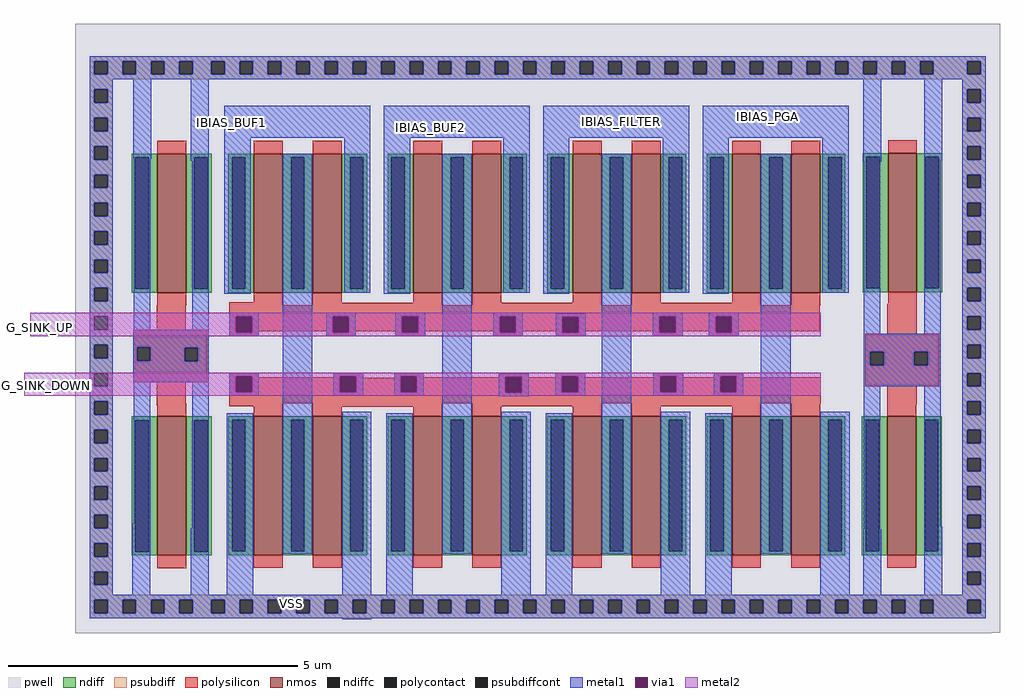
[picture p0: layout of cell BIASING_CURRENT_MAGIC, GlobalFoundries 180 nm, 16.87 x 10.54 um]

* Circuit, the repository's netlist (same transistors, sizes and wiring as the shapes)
* NGSPICE file created from BIASING_CURRENT_MAGIC.ext - technology: gf180mcuC

.subckt nfet_03v3_CT75PZ a_n52_n240# a_152_n240# a_52_n284# a_n152_n284# a_n240_n240#
+ VSUBS
X0 a_n52_n240# a_n152_n284# a_n240_n240# VSUBS nfet_03v3 ad=0.624p pd=2.92u as=1.06p ps=5.68u w=2.4u l=0.5u
X1 a_152_n240# a_52_n284# a_n52_n240# VSUBS nfet_03v3 ad=1.06p pd=5.68u as=0.624p ps=2.92u w=2.4u l=0.5u
.ends

.subckt nfet_03v3_CTB5PZ a_50_n240# a_n50_n284# a_n138_n240# VSUBS
X0 a_50_n240# a_n50_n284# a_n138_n240# VSUBS nfet_03v3 ad=1.06p pd=5.68u as=1.06p ps=5.68u w=2.4u l=0.5u
.ends

.subckt BIASING_CURRENT_MAGIC IBIAS_BUF1 IBIAS_BUF2 IBIAS_FILTER IBIAS_PGA G_SINK_UP
+ G_SINK_DOWN VSS
Xnfet_03v3_CT75PZ_1 m1_1867_n835# IBIAS_PGA G_SINK_UP G_SINK_UP IBIAS_PGA VSS nfet_03v3_CT75PZ
Xnfet_03v3_CT75PZ_0 m1_1867_n835# VSS G_SINK_DOWN G_SINK_DOWN VSS VSS nfet_03v3_CT75PZ
Xnfet_03v3_CT75PZ_2 m1_214_n835# IBIAS_BUF1 G_SINK_UP G_SINK_UP IBIAS_BUF1 VSS nfet_03v3_CT75PZ
Xnfet_03v3_CT75PZ_3 m1_214_n835# VSS G_SINK_DOWN G_SINK_DOWN VSS VSS nfet_03v3_CT75PZ
Xnfet_03v3_CT75PZ_4 m1_765_n835# VSS G_SINK_DOWN G_SINK_DOWN VSS VSS nfet_03v3_CT75PZ
Xnfet_03v3_CT75PZ_5 m1_765_n835# IBIAS_BUF2 G_SINK_UP G_SINK_UP IBIAS_BUF2 VSS nfet_03v3_CT75PZ
Xnfet_03v3_CT75PZ_6 m1_1316_n835# VSS G_SINK_DOWN G_SINK_DOWN VSS VSS nfet_03v3_CT75PZ
Xnfet_03v3_CT75PZ_7 m1_1316_n835# IBIAS_FILTER G_SINK_UP G_SINK_UP IBIAS_FILTER VSS
+ nfet_03v3_CT75PZ
Xnfet_03v3_CTB5PZ_0 VSS VSS VSS VSS nfet_03v3_CTB5PZ
Xnfet_03v3_CTB5PZ_1 VSS VSS VSS VSS nfet_03v3_CTB5PZ
Xnfet_03v3_CTB5PZ_2 VSS VSS VSS VSS nfet_03v3_CTB5PZ
Xnfet_03v3_CTB5PZ_3 VSS VSS VSS VSS nfet_03v3_CTB5PZ
.ends

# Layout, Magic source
magic
tech gf180mcuC
magscale 1 10
<< pwell >>
rect -503 -1107 2693 998
rect -503 -1110 2662 -1107
<< psubdiff >>
rect -453 868 2643 885
rect -453 822 -437 868
rect -391 822 -339 868
rect -293 822 -241 868
rect -195 822 -143 868
rect -97 822 -33 868
rect 13 822 65 868
rect 111 822 163 868
rect 209 822 261 868
rect 307 822 359 868
rect 405 822 457 868
rect 503 822 555 868
rect 601 822 653 868
rect 699 822 751 868
rect 797 822 849 868
rect 895 822 947 868
rect 993 822 1045 868
rect 1091 822 1143 868
rect 1189 822 1241 868
rect 1287 822 1339 868
rect 1385 822 1437 868
rect 1483 822 1535 868
rect 1581 822 1633 868
rect 1679 822 1731 868
rect 1777 822 1829 868
rect 1875 822 1927 868
rect 1973 822 2025 868
rect 2071 822 2123 868
rect 2169 822 2221 868
rect 2267 822 2319 868
rect 2365 822 2417 868
rect 2463 822 2580 868
rect 2626 822 2643 868
rect -453 805 2643 822
rect -453 770 -374 805
rect -453 724 -437 770
rect -391 724 -374 770
rect -453 672 -374 724
rect -453 626 -437 672
rect -391 626 -374 672
rect -453 574 -374 626
rect -453 528 -437 574
rect -391 528 -374 574
rect -453 476 -374 528
rect -453 430 -437 476
rect -391 430 -374 476
rect -453 378 -374 430
rect -453 332 -437 378
rect -391 332 -374 378
rect -453 280 -374 332
rect -453 234 -437 280
rect -391 234 -374 280
rect -453 182 -374 234
rect -453 136 -437 182
rect -391 136 -374 182
rect -453 84 -374 136
rect -453 38 -437 84
rect -391 38 -374 84
rect -453 -14 -374 38
rect 2563 770 2643 805
rect 2563 724 2580 770
rect 2626 724 2643 770
rect 2563 672 2643 724
rect 2563 626 2580 672
rect 2626 626 2643 672
rect 2563 574 2643 626
rect 2563 528 2580 574
rect 2626 528 2643 574
rect 2563 476 2643 528
rect 2563 430 2580 476
rect 2626 430 2643 476
rect 2563 378 2643 430
rect 2563 332 2580 378
rect 2626 332 2643 378
rect 2563 280 2643 332
rect 2563 234 2580 280
rect 2626 234 2643 280
rect 2563 182 2643 234
rect 2563 136 2580 182
rect 2626 136 2643 182
rect 2563 84 2643 136
rect 2563 38 2580 84
rect 2626 38 2643 84
rect -453 -60 -437 -14
rect -391 -60 -374 -14
rect -453 -112 -374 -60
rect -453 -158 -437 -112
rect -391 -158 -374 -112
rect -453 -210 -374 -158
rect -453 -256 -437 -210
rect -391 -256 -374 -210
rect 2563 -14 2643 38
rect 2563 -60 2580 -14
rect 2626 -60 2643 -14
rect -453 -308 -374 -256
rect -453 -354 -437 -308
rect -391 -354 -374 -308
rect 2563 -112 2643 -60
rect 2563 -158 2580 -112
rect 2626 -158 2643 -112
rect 2563 -210 2643 -158
rect 2563 -256 2580 -210
rect 2626 -256 2643 -210
rect 2563 -308 2643 -256
rect -453 -406 -374 -354
rect -453 -452 -437 -406
rect -391 -452 -374 -406
rect -453 -504 -374 -452
rect -453 -550 -437 -504
rect -391 -550 -374 -504
rect -453 -602 -374 -550
rect -453 -648 -437 -602
rect -391 -648 -374 -602
rect -453 -700 -374 -648
rect -453 -746 -437 -700
rect -391 -746 -374 -700
rect -453 -798 -374 -746
rect -453 -844 -437 -798
rect -391 -844 -374 -798
rect -453 -896 -374 -844
rect -453 -942 -437 -896
rect -391 -942 -374 -896
rect -453 -977 -374 -942
rect 2563 -354 2580 -308
rect 2626 -354 2643 -308
rect 2563 -406 2643 -354
rect 2563 -452 2580 -406
rect 2626 -452 2643 -406
rect 2563 -504 2643 -452
rect 2563 -550 2580 -504
rect 2626 -550 2643 -504
rect 2563 -602 2643 -550
rect 2563 -648 2580 -602
rect 2626 -648 2643 -602
rect 2563 -700 2643 -648
rect 2563 -746 2580 -700
rect 2626 -746 2643 -700
rect 2563 -798 2643 -746
rect 2563 -844 2580 -798
rect 2626 -844 2643 -798
rect 2563 -896 2643 -844
rect 2563 -942 2580 -896
rect 2626 -942 2643 -896
rect 2563 -977 2643 -942
rect -453 -994 2643 -977
rect -453 -1040 -437 -994
rect -391 -1040 -339 -994
rect -293 -1040 -241 -994
rect -195 -1040 -143 -994
rect -97 -1040 -33 -994
rect 13 -1040 65 -994
rect 111 -1040 163 -994
rect 209 -1040 261 -994
rect 307 -1040 359 -994
rect 405 -1040 457 -994
rect 503 -1040 555 -994
rect 601 -1040 653 -994
rect 699 -1040 751 -994
rect 797 -1040 849 -994
rect 895 -1040 947 -994
rect 993 -1040 1045 -994
rect 1091 -1040 1143 -994
rect 1189 -1040 1241 -994
rect 1287 -1040 1339 -994
rect 1385 -1040 1437 -994
rect 1483 -1040 1535 -994
rect 1581 -1040 1633 -994
rect 1679 -1040 1731 -994
rect 1777 -1040 1829 -994
rect 1875 -1040 1927 -994
rect 1973 -1040 2025 -994
rect 2071 -1040 2123 -994
rect 2169 -1040 2221 -994
rect 2267 -1040 2319 -994
rect 2365 -1040 2417 -994
rect 2463 -1040 2580 -994
rect 2626 -1040 2643 -994
rect -453 -1057 2643 -1040
<< psubdiffcont >>
rect -437 822 -391 868
rect -339 822 -293 868
rect -241 822 -195 868
rect -143 822 -97 868
rect -33 822 13 868
rect 65 822 111 868
rect 163 822 209 868
rect 261 822 307 868
rect 359 822 405 868
rect 457 822 503 868
rect 555 822 601 868
rect 653 822 699 868
rect 751 822 797 868
rect 849 822 895 868
rect 947 822 993 868
rect 1045 822 1091 868
rect 1143 822 1189 868
rect 1241 822 1287 868
rect 1339 822 1385 868
rect 1437 822 1483 868
rect 1535 822 1581 868
rect 1633 822 1679 868
rect 1731 822 1777 868
rect 1829 822 1875 868
rect 1927 822 1973 868
rect 2025 822 2071 868
rect 2123 822 2169 868
rect 2221 822 2267 868
rect 2319 822 2365 868
rect 2417 822 2463 868
rect 2580 822 2626 868
rect -437 724 -391 770
rect -437 626 -391 672
rect -437 528 -391 574
rect -437 430 -391 476
rect -437 332 -391 378
rect -437 234 -391 280
rect -437 136 -391 182
rect -437 38 -391 84
rect 2580 724 2626 770
rect 2580 626 2626 672
rect 2580 528 2626 574
rect 2580 430 2626 476
rect 2580 332 2626 378
rect 2580 234 2626 280
rect 2580 136 2626 182
rect 2580 38 2626 84
rect -437 -60 -391 -14
rect -437 -158 -391 -112
rect -437 -256 -391 -210
rect 2580 -60 2626 -14
rect -437 -354 -391 -308
rect 2580 -158 2626 -112
rect 2580 -256 2626 -210
rect -437 -452 -391 -406
rect -437 -550 -391 -504
rect -437 -648 -391 -602
rect -437 -746 -391 -700
rect -437 -844 -391 -798
rect -437 -942 -391 -896
rect 2580 -354 2626 -308
rect 2580 -452 2626 -406
rect 2580 -550 2626 -504
rect 2580 -648 2626 -602
rect 2580 -746 2626 -700
rect 2580 -844 2626 -798
rect 2580 -942 2626 -896
rect -437 -1040 -391 -994
rect -339 -1040 -293 -994
rect -241 -1040 -195 -994
rect -143 -1040 -97 -994
rect -33 -1040 13 -994
rect 65 -1040 111 -994
rect 163 -1040 209 -994
rect 261 -1040 307 -994
rect 359 -1040 405 -994
rect 457 -1040 503 -994
rect 555 -1040 601 -994
rect 653 -1040 699 -994
rect 751 -1040 797 -994
rect 849 -1040 895 -994
rect 947 -1040 993 -994
rect 1045 -1040 1091 -994
rect 1143 -1040 1189 -994
rect 1241 -1040 1287 -994
rect 1339 -1040 1385 -994
rect 1437 -1040 1483 -994
rect 1535 -1040 1581 -994
rect 1633 -1040 1679 -994
rect 1731 -1040 1777 -994
rect 1829 -1040 1875 -994
rect 1927 -1040 1973 -994
rect 2025 -1040 2071 -994
rect 2123 -1040 2169 -994
rect 2221 -1040 2267 -994
rect 2319 -1040 2365 -994
rect 2417 -1040 2463 -994
rect 2580 -1040 2626 -994
<< polysilicon >>
rect -222 -61 -121 25
rect 29 24 214 34
rect 318 24 705 33
rect 869 24 1273 33
rect 1420 24 1810 33
rect 29 -18 2070 24
rect -303 -121 -47 -61
rect 29 -64 57 -18
rect 103 -64 392 -18
rect 438 -64 631 -18
rect 677 -64 969 -18
rect 1015 -19 1521 -18
rect 1015 -64 1186 -19
rect 29 -65 1186 -64
rect 1232 -64 1521 -19
rect 1567 -64 1715 -18
rect 1761 -64 2070 -18
rect 1232 -65 2070 -64
rect 29 -66 2070 -65
rect 29 -82 132 -66
rect 364 -82 467 -66
rect 603 -82 706 -66
rect 941 -82 1044 -66
rect 1158 -83 1261 -66
rect 1493 -82 1596 -66
rect 1687 -82 1790 -66
rect 2304 -74 2405 30
rect -303 -167 -289 -121
rect -243 -123 -47 -121
rect -243 -167 -125 -123
rect -303 -169 -125 -167
rect -79 -169 -47 -123
rect -303 -242 -47 -169
rect 2227 -137 2483 -74
rect 2227 -183 2245 -137
rect 2291 -183 2397 -137
rect 2443 -183 2483 -137
rect 29 -225 132 -209
rect 389 -225 492 -209
rect -222 -322 -121 -242
rect 29 -271 57 -225
rect 103 -271 417 -225
rect 463 -226 492 -225
rect 599 -225 702 -209
rect 961 -225 1064 -210
rect 1156 -225 1259 -209
rect 1495 -225 1598 -209
rect 1703 -225 1806 -209
rect 599 -226 627 -225
rect 463 -271 627 -226
rect 673 -226 1184 -225
rect 673 -271 989 -226
rect 29 -272 989 -271
rect 1035 -271 1184 -226
rect 1230 -271 1523 -225
rect 1569 -271 1731 -225
rect 1777 -271 2073 -225
rect 2227 -255 2483 -183
rect 1035 -272 2073 -271
rect 29 -315 2073 -272
rect 29 -325 214 -315
rect 318 -326 712 -315
rect 869 -325 1288 -315
rect 1420 -325 1847 -315
rect 2304 -317 2405 -255
<< polycontact >>
rect 57 -64 103 -18
rect 392 -64 438 -18
rect 631 -64 677 -18
rect 969 -64 1015 -18
rect 1186 -65 1232 -19
rect 1521 -64 1567 -18
rect 1715 -64 1761 -18
rect -289 -167 -243 -121
rect -125 -169 -79 -123
rect 2245 -183 2291 -137
rect 2397 -183 2443 -137
rect 57 -271 103 -225
rect 417 -271 463 -225
rect 627 -271 673 -225
rect 989 -272 1035 -226
rect 1184 -271 1230 -225
rect 1523 -271 1569 -225
rect 1731 -271 1777 -225
<< metal1 >>
rect -453 868 2643 885
rect -453 822 -437 868
rect -391 822 -339 868
rect -293 822 -241 868
rect -195 822 -143 868
rect -97 822 -33 868
rect 13 822 65 868
rect 111 822 163 868
rect 209 822 261 868
rect 307 822 359 868
rect 405 822 457 868
rect 503 822 555 868
rect 601 822 653 868
rect 699 822 751 868
rect 797 822 849 868
rect 895 822 947 868
rect 993 822 1045 868
rect 1091 822 1143 868
rect 1189 822 1241 868
rect 1287 822 1339 868
rect 1385 822 1437 868
rect 1483 822 1535 868
rect 1581 822 1633 868
rect 1679 822 1731 868
rect 1777 822 1829 868
rect 1875 822 1927 868
rect 1973 822 2025 868
rect 2071 822 2123 868
rect 2169 822 2221 868
rect 2267 822 2319 868
rect 2365 822 2417 868
rect 2463 822 2580 868
rect 2626 822 2643 868
rect -453 805 2643 822
rect -453 770 -374 805
rect -453 724 -437 770
rect -391 724 -374 770
rect -453 672 -374 724
rect -453 626 -437 672
rect -391 626 -374 672
rect -453 574 -374 626
rect -453 528 -437 574
rect -391 528 -374 574
rect -303 530 -241 805
rect -453 476 -374 528
rect -453 430 -437 476
rect -391 430 -374 476
rect -453 378 -374 430
rect -453 332 -437 378
rect -391 332 -374 378
rect -453 280 -374 332
rect -453 234 -437 280
rect -391 234 -374 280
rect -453 182 -374 234
rect -453 136 -437 182
rect -391 136 -374 182
rect -453 84 -374 136
rect -453 38 -437 84
rect -391 38 -374 84
rect -453 -14 -374 38
rect -453 -60 -437 -14
rect -391 -60 -374 -14
rect -453 -112 -374 -60
rect -301 -61 -244 530
rect -103 523 -41 805
rect -98 -61 -41 523
rect 12 604 517 713
rect 12 64 103 604
rect -453 -158 -437 -112
rect -391 -158 -374 -112
rect -453 -210 -374 -158
rect -453 -256 -437 -210
rect -391 -256 -374 -210
rect -303 -121 -41 -61
rect 29 -14 132 -2
rect 29 -70 52 -14
rect 108 -70 132 -14
rect 29 -82 132 -70
rect -303 -167 -289 -121
rect -243 -123 -41 -121
rect -243 -167 -125 -123
rect -303 -169 -125 -167
rect -79 -169 -41 -123
rect -303 -242 -41 -169
rect -453 -308 -374 -256
rect -453 -354 -437 -308
rect -391 -354 -374 -308
rect -453 -406 -374 -354
rect -453 -452 -437 -406
rect -391 -452 -374 -406
rect -453 -504 -374 -452
rect -453 -550 -437 -504
rect -391 -550 -374 -504
rect -453 -602 -374 -550
rect -453 -648 -437 -602
rect -391 -648 -374 -602
rect -453 -700 -374 -648
rect -453 -746 -437 -700
rect -391 -746 -374 -700
rect -301 -730 -244 -242
rect -453 -798 -374 -746
rect -453 -844 -437 -798
rect -391 -844 -374 -798
rect -453 -896 -374 -844
rect -453 -942 -437 -896
rect -391 -942 -374 -896
rect -453 -977 -374 -942
rect -306 -977 -244 -730
rect -98 -747 -41 -242
rect 29 -221 132 -209
rect 29 -277 52 -221
rect 108 -277 132 -221
rect 29 -289 132 -277
rect -103 -977 -41 -747
rect 21 -977 113 -349
rect 214 -835 316 548
rect 426 68 517 604
rect 563 604 1068 713
rect 563 64 654 604
rect 364 -14 467 -2
rect 364 -70 387 -14
rect 443 -70 467 -14
rect 364 -82 467 -70
rect 603 -14 706 -2
rect 603 -70 626 -14
rect 682 -70 706 -14
rect 603 -82 706 -70
rect 389 -221 492 -209
rect 389 -277 412 -221
rect 468 -277 492 -221
rect 389 -289 492 -277
rect 599 -221 702 -209
rect 599 -277 622 -221
rect 678 -277 702 -221
rect 599 -289 702 -277
rect 419 -977 520 -343
rect 572 -977 664 -349
rect 765 -835 867 548
rect 977 68 1068 604
rect 1114 604 1619 713
rect 1114 64 1205 604
rect 941 -14 1044 -2
rect 941 -70 964 -14
rect 1020 -70 1044 -14
rect 941 -82 1044 -70
rect 1158 -15 1261 -3
rect 1158 -71 1181 -15
rect 1237 -71 1261 -15
rect 1158 -83 1261 -71
rect 961 -222 1064 -210
rect 961 -278 984 -222
rect 1040 -278 1064 -222
rect 961 -290 1064 -278
rect 1156 -221 1259 -209
rect 1156 -277 1179 -221
rect 1235 -277 1259 -221
rect 1156 -289 1259 -277
rect 970 -977 1071 -343
rect 1123 -977 1215 -349
rect 1316 -835 1418 548
rect 1528 68 1619 604
rect 1665 604 2170 713
rect 1665 64 1756 604
rect 1493 -14 1596 -2
rect 1493 -70 1516 -14
rect 1572 -70 1596 -14
rect 1493 -82 1596 -70
rect 1687 -14 1790 -2
rect 1687 -70 1710 -14
rect 1766 -70 1790 -14
rect 1687 -82 1790 -70
rect 1495 -221 1598 -209
rect 1495 -277 1518 -221
rect 1574 -277 1598 -221
rect 1495 -289 1598 -277
rect 1703 -221 1806 -209
rect 1703 -277 1726 -221
rect 1782 -277 1806 -221
rect 1703 -289 1806 -277
rect 1521 -977 1622 -343
rect 1674 -977 1766 -349
rect 1867 -835 1969 548
rect 2079 68 2170 604
rect 2221 521 2283 805
rect 2431 526 2493 805
rect 2563 770 2643 805
rect 2563 724 2580 770
rect 2626 724 2643 770
rect 2563 672 2643 724
rect 2563 626 2580 672
rect 2626 626 2643 672
rect 2563 574 2643 626
rect 2563 528 2580 574
rect 2626 528 2643 574
rect 2222 -74 2279 521
rect 2431 -74 2488 526
rect 2222 -137 2488 -74
rect 2222 -183 2245 -137
rect 2291 -183 2397 -137
rect 2443 -183 2488 -137
rect 2222 -255 2488 -183
rect 2072 -977 2173 -343
rect 2222 -750 2279 -255
rect 2431 -741 2488 -255
rect 2563 476 2643 528
rect 2563 430 2580 476
rect 2626 430 2643 476
rect 2563 378 2643 430
rect 2563 332 2580 378
rect 2626 332 2643 378
rect 2563 280 2643 332
rect 2563 234 2580 280
rect 2626 234 2643 280
rect 2563 182 2643 234
rect 2563 136 2580 182
rect 2626 136 2643 182
rect 2563 84 2643 136
rect 2563 38 2580 84
rect 2626 38 2643 84
rect 2563 -14 2643 38
rect 2563 -60 2580 -14
rect 2626 -60 2643 -14
rect 2563 -112 2643 -60
rect 2563 -158 2580 -112
rect 2626 -158 2643 -112
rect 2563 -210 2643 -158
rect 2563 -256 2580 -210
rect 2626 -256 2643 -210
rect 2563 -308 2643 -256
rect 2563 -354 2580 -308
rect 2626 -354 2643 -308
rect 2563 -406 2643 -354
rect 2563 -452 2580 -406
rect 2626 -452 2643 -406
rect 2563 -504 2643 -452
rect 2563 -550 2580 -504
rect 2626 -550 2643 -504
rect 2563 -602 2643 -550
rect 2563 -648 2580 -602
rect 2626 -648 2643 -602
rect 2563 -700 2643 -648
rect 2221 -977 2283 -750
rect 2431 -977 2493 -741
rect 2563 -746 2580 -700
rect 2626 -746 2643 -700
rect 2563 -798 2643 -746
rect 2563 -844 2580 -798
rect 2626 -844 2643 -798
rect 2563 -896 2643 -844
rect 2563 -942 2580 -896
rect 2626 -942 2643 -896
rect 2563 -977 2643 -942
rect -453 -994 2643 -977
rect -453 -1040 -437 -994
rect -391 -1040 -339 -994
rect -293 -1040 -241 -994
rect -195 -1040 -143 -994
rect -97 -1040 -33 -994
rect 13 -1040 65 -994
rect 111 -1040 163 -994
rect 209 -1040 261 -994
rect 307 -1040 359 -994
rect 405 -1040 457 -994
rect 503 -1040 555 -994
rect 601 -1040 653 -994
rect 699 -1040 751 -994
rect 797 -1040 849 -994
rect 895 -1040 947 -994
rect 993 -1040 1045 -994
rect 1091 -1040 1143 -994
rect 1189 -1040 1241 -994
rect 1287 -1040 1339 -994
rect 1385 -1040 1437 -994
rect 1483 -1040 1535 -994
rect 1581 -1040 1633 -994
rect 1679 -1040 1731 -994
rect 1777 -1040 1829 -994
rect 1875 -1040 1927 -994
rect 1973 -1040 2025 -994
rect 2071 -1040 2123 -994
rect 2169 -1040 2221 -994
rect 2267 -1040 2319 -994
rect 2365 -1040 2417 -994
rect 2463 -1040 2580 -994
rect 2626 -1040 2643 -994
rect -453 -1057 2643 -1040
rect 419 -1060 520 -1057
<< via1 >>
rect 52 -18 108 -14
rect 52 -64 57 -18
rect 57 -64 103 -18
rect 103 -64 108 -18
rect 52 -70 108 -64
rect 52 -225 108 -221
rect 52 -271 57 -225
rect 57 -271 103 -225
rect 103 -271 108 -225
rect 52 -277 108 -271
rect 387 -18 443 -14
rect 387 -64 392 -18
rect 392 -64 438 -18
rect 438 -64 443 -18
rect 387 -70 443 -64
rect 626 -18 682 -14
rect 626 -64 631 -18
rect 631 -64 677 -18
rect 677 -64 682 -18
rect 626 -70 682 -64
rect 412 -225 468 -221
rect 412 -271 417 -225
rect 417 -271 463 -225
rect 463 -271 468 -225
rect 412 -277 468 -271
rect 622 -225 678 -221
rect 622 -271 627 -225
rect 627 -271 673 -225
rect 673 -271 678 -225
rect 622 -277 678 -271
rect 964 -18 1020 -14
rect 964 -64 969 -18
rect 969 -64 1015 -18
rect 1015 -64 1020 -18
rect 964 -70 1020 -64
rect 1181 -19 1237 -15
rect 1181 -65 1186 -19
rect 1186 -65 1232 -19
rect 1232 -65 1237 -19
rect 1181 -71 1237 -65
rect 984 -226 1040 -222
rect 984 -272 989 -226
rect 989 -272 1035 -226
rect 1035 -272 1040 -226
rect 984 -278 1040 -272
rect 1179 -225 1235 -221
rect 1179 -271 1184 -225
rect 1184 -271 1230 -225
rect 1230 -271 1235 -225
rect 1179 -277 1235 -271
rect 1516 -18 1572 -14
rect 1516 -64 1521 -18
rect 1521 -64 1567 -18
rect 1567 -64 1572 -18
rect 1516 -70 1572 -64
rect 1710 -18 1766 -14
rect 1710 -64 1715 -18
rect 1715 -64 1761 -18
rect 1761 -64 1766 -18
rect 1710 -70 1766 -64
rect 1518 -225 1574 -221
rect 1518 -271 1523 -225
rect 1523 -271 1569 -225
rect 1569 -271 1574 -225
rect 1518 -277 1574 -271
rect 1726 -225 1782 -221
rect 1726 -271 1731 -225
rect 1731 -271 1777 -225
rect 1777 -271 1782 -225
rect 1726 -277 1782 -271
<< metal2 >>
rect -658 -14 2073 -2
rect -658 -70 52 -14
rect 108 -70 387 -14
rect 443 -70 626 -14
rect 682 -70 964 -14
rect 1020 -15 1516 -14
rect 1020 -70 1181 -15
rect -658 -71 1181 -70
rect 1237 -70 1516 -15
rect 1572 -70 1710 -14
rect 1766 -70 2073 -14
rect 1237 -71 2073 -70
rect -658 -82 2073 -71
rect 1158 -83 1261 -82
rect -680 -221 2073 -209
rect -680 -277 52 -221
rect 108 -277 412 -221
rect 468 -277 622 -221
rect 678 -222 1179 -221
rect 678 -277 984 -222
rect -680 -278 984 -277
rect 1040 -277 1179 -222
rect 1235 -277 1518 -221
rect 1574 -277 1726 -221
rect 1782 -277 2073 -221
rect 1040 -278 2073 -277
rect -680 -289 2073 -278
rect 961 -290 1064 -289
use nfet_03v3_CT75PZ  nfet_03v3_CT75PZ_0
transform 1 0 1919 0 1 -599
box -264 -308 264 308
use nfet_03v3_CT75PZ  nfet_03v3_CT75PZ_1
transform 1 0 1919 0 1 308
box -264 -308 264 308
use nfet_03v3_CT75PZ  nfet_03v3_CT75PZ_2
transform 1 0 266 0 1 308
box -264 -308 264 308
use nfet_03v3_CT75PZ  nfet_03v3_CT75PZ_3
transform 1 0 266 0 1 -599
box -264 -308 264 308
use nfet_03v3_CT75PZ  nfet_03v3_CT75PZ_4
transform 1 0 817 0 1 -599
box -264 -308 264 308
use nfet_03v3_CT75PZ  nfet_03v3_CT75PZ_5
transform 1 0 817 0 1 308
box -264 -308 264 308
use nfet_03v3_CT75PZ  nfet_03v3_CT75PZ_6
transform 1 0 1368 0 1 -599
box -264 -308 264 308
use nfet_03v3_CT75PZ  nfet_03v3_CT75PZ_7
transform 1 0 1368 0 1 308
box -264 -308 264 308
use nfet_03v3_CTB5PZ  nfet_03v3_CTB5PZ_0
transform 1 0 -170 0 1 -600
box -162 -308 162 308
use nfet_03v3_CTB5PZ  nfet_03v3_CTB5PZ_1
transform 1 0 -170 0 1 308
box -162 -308 162 308
use nfet_03v3_CTB5PZ  nfet_03v3_CTB5PZ_2
transform 1 0 2354 0 1 -599
box -162 -308 162 308
use nfet_03v3_CTB5PZ  nfet_03v3_CTB5PZ_3
transform 1 0 2356 0 1 310
box -162 -308 162 308
<< labels >>
flabel metal1 38 657 38 657 0 FreeSans 480 0 0 0 IBIAS_BUF1
port 9 nsew
flabel metal1 724 639 724 639 0 FreeSans 480 0 0 0 IBIAS_BUF2
port 10 nsew
flabel metal1 1380 660 1380 660 0 FreeSans 480 0 0 0 IBIAS_FILTER
port 11 nsew
flabel metal1 1890 676 1890 676 0 FreeSans 480 0 0 0 IBIAS_PGA
port 13 nsew
flabel metal2 -627 -52 -627 -52 0 FreeSans 800 0 0 0 G_SINK_UP
port 14 nsew
flabel metal2 -617 -252 -617 -252 0 FreeSans 800 0 0 0 G_SINK_DOWN
port 16 nsew
flabel metal1 244 -1007 244 -1007 0 FreeSans 800 0 0 0 VSS
port 18 nsew
<< end >>

# cell nfet_03v3_CT75PZ: kit device nfet_03v3, w 2.4 l 0.5 m 1 nf 2 diffcov 100 polycov 100 guard 0 glc 0 grc 0 gtc 0 gbc 0 tbcov 100 rlcov 100 topc 0 botc 0 poverlap 0 doverlap 1 lmin 0.28 wmin 0.22 full_metal 0 compatible {nfet_03v3 nfet_06v0 nfet_06v0_nvt}

# cell nfet_03v3_CTB5PZ: kit device nfet_03v3, w 2.4 l 0.5 m 1 nf 1 diffcov 100 polycov 100 guard 0 glc 0 grc 0 gtc 0 gbc 0 tbcov 100 rlcov 100 topc 0 botc 0 poverlap 0 doverlap 1 lmin 0.28 wmin 0.22 full_metal 0 compatible {nfet_03v3 nfet_06v0 nfet_06v0_nvt}
